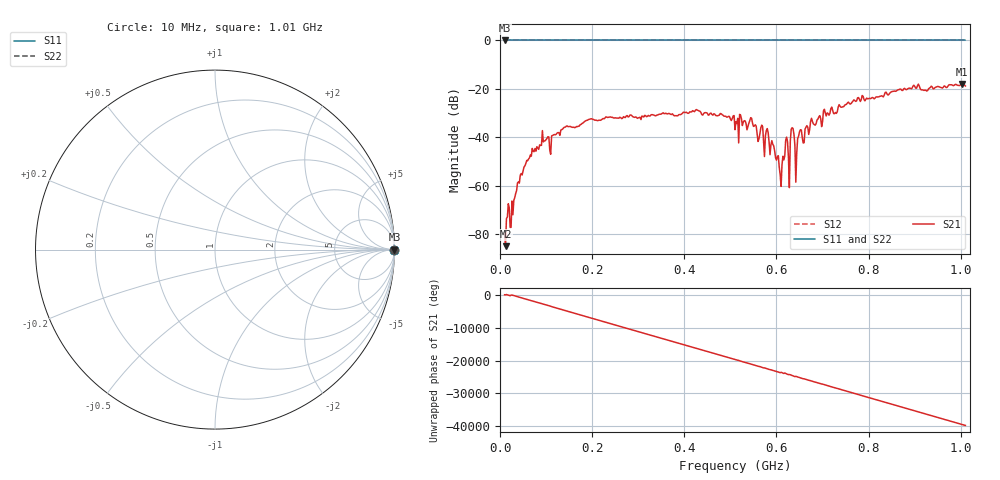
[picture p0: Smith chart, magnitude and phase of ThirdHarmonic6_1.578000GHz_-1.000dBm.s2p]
! 8/16/2025 6:46:48 PM
! C:\ANRITSUVNA\TEMP\TEMP.S2P
! CHANNEL.1
! TR.MEASUREMENT
! RAW.DATA
! RF.CORRECTION.OFF
! AVERAGING.OFF
! IF.BANDWIDTH: 5KHZ
! SWEEPTYPE:  FREQ.SWEEP(Linear)
! Reference Plane Port Info
! PORT:  PORT1  PORT2
! DISTANCE:  0  m  0  m
! TIME:  0  s  0  s
! PHASE.OFFSET:  0  deg.  0  deg.
! LOSS:  0  dB  0  dB
! REF.LOSS:  0  dB  0  dB
! REF.FREQ:  0  Hz  0  Hz
! Power Info
! POWER:  -20  dBm  -20  dBm
! EFF.POWER:  -20  dBm  -20  dBm
! SOURCE.ATTEN:  0  dB  0  dB
! TEST.ATTEN:  0  dB  0  dB
# GHZ S RI R 50.0
! FREQ.GHZ  S11RE  S11IM  S21RE  S21IM  S12RE  S12IM  S22RE  S22IM
!; PortSelection: Port_12
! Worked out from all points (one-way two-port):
!   501 points, 10 MHz to 1.01 GHz, reference 50 ohm
!   highest |S21| = -17.97 dB at 1.002 GHz (marker M1); lowest = -84.9 dB at 12 MHz (marker M2)
!   lowest |S11| = 0.0 dB at 10 MHz (marker M3)
!   |S11| at or under -10 dB: nowhere
!   |S22| runs from 0.0 to 0.0 dB; largest |S21 - S12| = 1.1
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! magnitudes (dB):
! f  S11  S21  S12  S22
! 10 MHz  0.0  -79.3  0.0  0.0
! 12 MHz  0.0  -84.9  0.0  0.0
! 16 MHz  0.0  -72.9  0.0  0.0
! 26 MHz  0.0  -66.3  0.0  0.0
! 42 MHz  0.0  -58.9  0.0  0.0
! 72 MHz  0.0  -45.8  0.0  0.0
! 178 MHz  0.0  -34.3  0.0  0.0
! 344 MHz  0.0  -30.6  0.0  0.0
! 428 MHz  0.0  -28.7  0.0  0.0
! 510 MHz  0.0  -36.8  0.0  0.0
! 544 MHz  0.0  -31.9  0.0  0.0
! 580 MHz  0.0  -36.4  0.0  0.0
! 610 MHz  0.0  -60.2  0.0  0.0
! 620 MHz  0.0  -41.2  0.0  0.0
! 630 MHz  0.0  -41.6  0.0  0.0
! 634 MHz  0.0  -36.0  0.0  0.0
! 644 MHz  0.0  -46.4  0.0  0.0
! 650 MHz  0.0  -37.7  0.0  0.0
! 678 MHz  0.0  -33.4  0.0  0.0
! 844 MHz  0.0  -22.3  0.0  0.0
! 1.002 GHz  0.0  -18.0  0.0  0.0
! 1.01 GHz  0.0  -18.8  0.0  0.0
